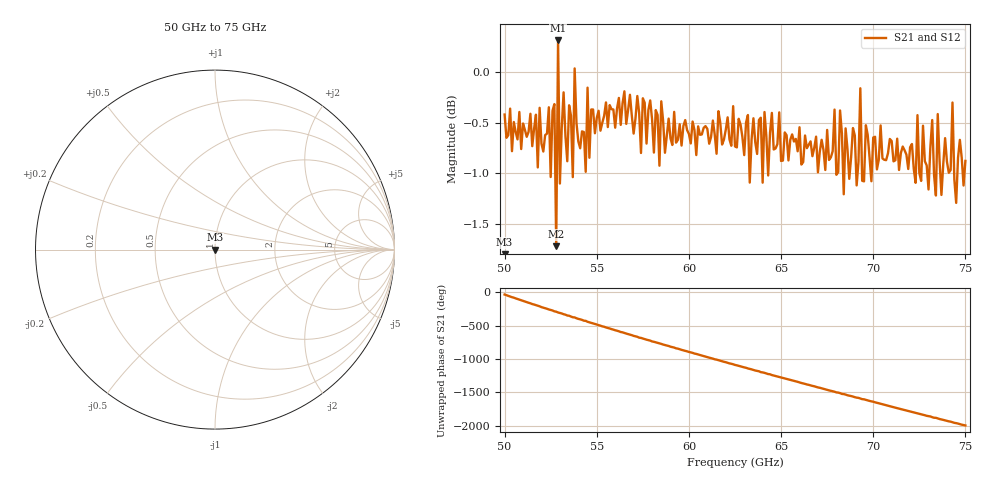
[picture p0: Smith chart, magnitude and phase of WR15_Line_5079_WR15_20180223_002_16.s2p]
# GHZ S RI R 50
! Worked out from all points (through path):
!   251 points, 50 GHz to 75 GHz, reference 50 ohm
!   highest |S21| = 0.31 dB at 52.9 GHz (marker M1); lowest = -1.7 dB at 52.8 GHz (marker M2)
!   lowest |S11| = - dB at 50 GHz (marker M3), VSWR 1.00, Z = 50 + j1.26e-15 ohm
!   |S11| at or under -10 dB: start of sweep to end of sweep
!   |S22| runs from - to - dB; largest |S21 - S12| = 1.4e-15
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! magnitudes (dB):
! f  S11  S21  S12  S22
! 50 GHz  -  -0.4  -0.4  -
! 51.8 GHz  -  -0.9  -0.9  -
! 52.4 GHz  -  -0.3  -0.3  -
! 52.5 GHz  -  -1.0  -1.0  -
! 52.7 GHz  -  -0.3  -0.3  -
! 52.8 GHz  -  -1.7  -1.7  -
! 52.9 GHz  -  0.3  0.3  -
! 53 GHz  -  -1.1  -1.1  -
! 53.2 GHz  -  -0.2  -0.2  -
! 53.7 GHz  -  -1.0  -1.0  -
! 53.8 GHz  -  0.0  0.0  -
! 54.2 GHz  -  -0.6  -0.6  -
! 57.9 GHz  -  -0.3  -0.3  -
! 58.4 GHz  -  -0.9  -0.9  -
! 58.5 GHz  -  -0.3  -0.3  -
! 62.5 GHz  -  -0.7  -0.7  -
! 66.7 GHz  -  -0.8  -0.8  -
! 69.1 GHz  -  -1.1  -1.1  -
! 69.3 GHz  -  -0.2  -0.2  -
! 69.4 GHz  -  -1.1  -1.1  -
! 70.9 GHz  -  -0.7  -0.7  -
! 75 GHz  -  -0.9  -0.9  -
